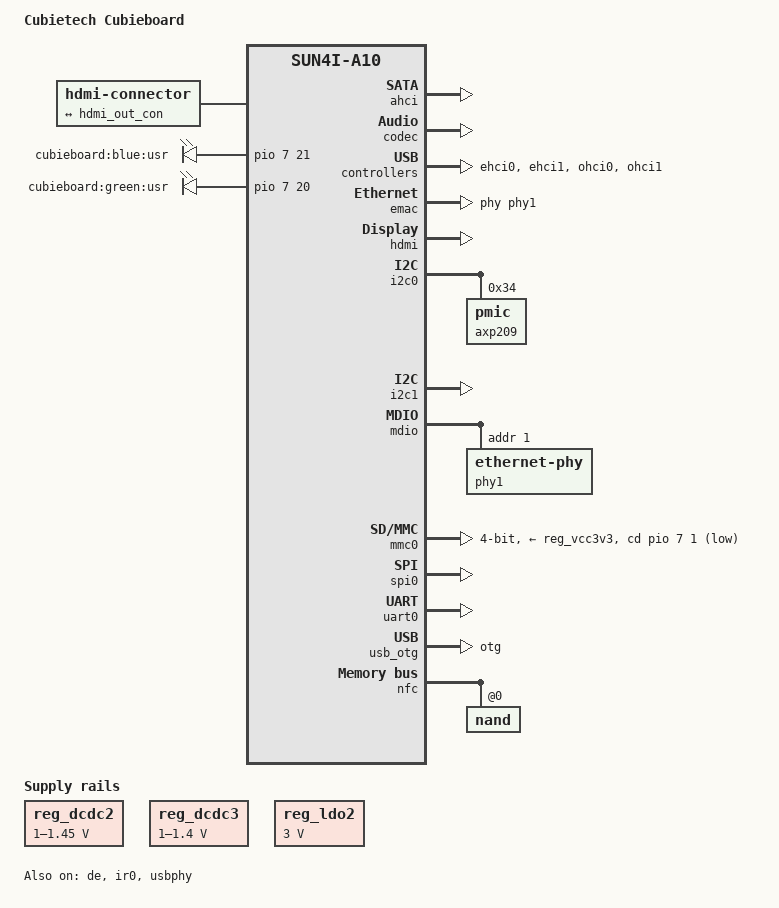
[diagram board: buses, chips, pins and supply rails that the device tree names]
/*
 * Copyright 2012 Stefan Roese
 * Stefan Roese <sr@denx.de>
 *
 * This file is dual-licensed: you can use it either under the terms
 * of the GPL or the X11 license, at your option. Note that this dual
 * licensing only applies to this file, and not this project as a
 * whole.
 *
 *  a) This file is free software; you can redistribute it and/or
 *     modify it under the terms of the GNU General Public License as
 *     published by the Free Software Foundation; either version 2 of the
 *     License, or (at your option) any later version.
 *
 *     This file is distributed in the hope that it will be useful,
 *     but WITHOUT ANY WARRANTY; without even the implied warranty of
 *     MERCHANTABILITY or FITNESS FOR A PARTICULAR PURPOSE.  See the
 *     GNU General Public License for more details.
 *
 * Or, alternatively,
 *
 *  b) Permission is hereby granted, free of charge, to any person
 *     obtaining a copy of this software and associated documentation
 *     files (the "Software"), to deal in the Software without
 *     restriction, including without limitation the rights to use,
 *     copy, modify, merge, publish, distribute, sublicense, and/or
 *     sell copies of the Software, and to permit persons to whom the
 *     Software is furnished to do so, subject to the following
 *     conditions:
 *
 *     The above copyright notice and this permission notice shall be
 *     included in all copies or substantial portions of the Software.
 *
 *     THE SOFTWARE IS PROVIDED "AS IS", WITHOUT WARRANTY OF ANY KIND,
 *     EXPRESS OR IMPLIED, INCLUDING BUT NOT LIMITED TO THE WARRANTIES
 *     OF MERCHANTABILITY, FITNESS FOR A PARTICULAR PURPOSE AND
 *     NONINFRINGEMENT. IN NO EVENT SHALL THE AUTHORS OR COPYRIGHT
 *     HOLDERS BE LIABLE FOR ANY CLAIM, DAMAGES OR OTHER LIABILITY,
 *     WHETHER IN AN ACTION OF CONTRACT, TORT OR OTHERWISE, ARISING
 *     FROM, OUT OF OR IN CONNECTION WITH THE SOFTWARE OR THE USE OR
 *     OTHER DEALINGS IN THE SOFTWARE.
 */

/dts-v1/;
#include "sun4i-a10.dtsi"
#include "sunxi-common-regulators.dtsi"

#include <dt-bindings/gpio/gpio.h>

/ {
	model = "Cubietech Cubieboard";
	compatible = "cubietech,a10-cubieboard", "allwinner,sun4i-a10";

	aliases {
		serial0 = &uart0;
	};

	chosen {
		stdout-path = "serial0:115200n8";
	};

	hdmi-connector {
		compatible = "hdmi-connector";
		type = "a";

		port {
			hdmi_con_in: endpoint {
				remote-endpoint = <&hdmi_out_con>;
			};
		};
	};

	leds {
		compatible = "gpio-leds";
		pinctrl-names = "default";
		pinctrl-0 = <&led_pins_cubieboard>;

		blue {
			label = "cubieboard:blue:usr";
			gpios = <&pio 7 21 GPIO_ACTIVE_HIGH>; /* LED1 */
		};

		green {
			label = "cubieboard:green:usr";
			gpios = <&pio 7 20 GPIO_ACTIVE_HIGH>; /* LED2 */
			linux,default-trigger = "heartbeat";
		};
	};
};

&ahci {
	target-supply = <&reg_ahci_5v>;
	status = "okay";
};

&codec {
	status = "okay";
};

&cpu0 {
	cpu-supply = <&reg_dcdc2>;
};

&de {
	status = "okay";
};

&ehci0 {
	status = "okay";
};

&ehci1 {
	status = "okay";
};

&emac {
	phy = <&phy1>;
	status = "okay";
};

&emac_sram {
	status = "okay";
};

&hdmi {
	status = "okay";
};

&hdmi_out {
	hdmi_out_con: endpoint {
		remote-endpoint = <&hdmi_con_in>;
	};
};

&i2c0 {
	status = "okay";

	axp209: pmic@34 {
		reg = <0x34>;
		interrupts = <0>;
	};
};

&i2c1 {
	status = "okay";
};

&ir0 {
	pinctrl-names = "default";
	pinctrl-0 = <&ir0_rx_pins>;
	status = "okay";
};

&mdio {
	status = "okay";

	phy1: ethernet-phy@1 {
		reg = <1>;
	};
};

&mmc0 {
	vmmc-supply = <&reg_vcc3v3>;
	bus-width = <4>;
	cd-gpios = <&pio 7 1 GPIO_ACTIVE_LOW>; /* PH1 */
	status = "okay";
};

&ohci0 {
	status = "okay";
};

&ohci1 {
	status = "okay";
};

&otg_sram {
	status = "okay";
};

&pio {
	led_pins_cubieboard: led-pins {
		pins = "PH20", "PH21";
		function = "gpio_out";
		drive-strength = <20>;
	};

	usb0_id_detect_pin: usb0-id-detect-pin {
		pins = "PH4";
		function = "gpio_in";
		bias-pull-up;
	};
};

&reg_ahci_5v {
	status = "okay";
};

#include "axp209.dtsi"

&ac_power_supply {
	status = "okay";
};

&reg_dcdc2 {
	regulator-always-on;
	regulator-min-microvolt = <1000000>;
	regulator-max-microvolt = <1450000>;
	regulator-name = "vdd-cpu";
};

&reg_dcdc3 {
	regulator-always-on;
	regulator-min-microvolt = <1000000>;
	regulator-max-microvolt = <1400000>;
	regulator-name = "vdd-int-dll";
};

&reg_ldo1 {
	regulator-name = "vdd-rtc";
};

&reg_ldo2 {
	regulator-always-on;
	regulator-min-microvolt = <3000000>;
	regulator-max-microvolt = <3000000>;
	regulator-name = "avcc";
};

&reg_usb1_vbus {
	status = "okay";
};

&reg_usb2_vbus {
	status = "okay";
};

&spi0 {
	pinctrl-names = "default";
	pinctrl-0 = <&spi0_pi_pins>,
		    <&spi0_cs0_pi_pin>;
	status = "okay";
};

&uart0 {
	pinctrl-names = "default";
	pinctrl-0 = <&uart0_pb_pins>;
	status = "okay";
};

&usb_otg {
	dr_mode = "otg";
	status = "okay";
};

&usbphy {
	pinctrl-names = "default";
	pinctrl-0 = <&usb0_id_detect_pin>;
	usb0_id_det-gpio = <&pio 7 4 GPIO_ACTIVE_HIGH>; /* PH4 */
	usb1_vbus-supply = <&reg_usb1_vbus>;
	usb2_vbus-supply = <&reg_usb2_vbus>;
	status = "okay";
};


&nfc {
	pinctrl-names = "default";
	pinctrl-0 = <&nand_pins>, <&nand_pins_cs0>, <&nand_pins_rb0>;
	status = "okay";

	nand@0 {
		#address-cells = <2>;
		#size-cells = <2>;
		reg = <0>;
		allwinner,rb = <0>;
		nand-ecc-mode = "hw";
		nand-ecc-strength = <40>;
		nand-ecc-step-size = <1024>;
		nand-rnd-mode = "hw";
        nand-randomizer-seeds = /bits/ 16 <
			0x2b75 0x0bd0 0x5ca3 0x62d1 0x1c93 0x07e9 0x2162 0x3a72
			0x0d67 0x67f9 0x1be7 0x077d 0x032f 0x0dac 0x2716 0x2436
			0x7922 0x1510 0x3860 0x5287 0x480f 0x4252 0x1789 0x5a2d
			0x2a49 0x5e10 0x437f 0x4b4e 0x2f45 0x216e 0x5cb7 0x7130
			0x2a3f 0x60e4 0x4dc9 0x0ef0 0x0f52 0x1bb9 0x6211 0x7a56
			0x226d 0x4ea7 0x6f36 0x3692 0x38bf 0x0c62 0x05eb 0x4c55
			0x60f4 0x728c 0x3b6f 0x2037 0x7f69 0x0936 0x651a 0x4ceb
			0x6218 0x79f3 0x383f 0x18d9 0x4f05 0x5c82 0x2912 0x6f17
			0x6856 0x5938 0x1007 0x61ab 0x3e7f 0x57c2 0x542f 0x4f62
			0x7454 0x2eac 0x7739 0x42d4 0x2f90 0x435a 0x2e52 0x2064
			0x637c 0x66ad 0x2c90 0x0bad 0x759c 0x0029 0x0986 0x7126
			0x1ca7 0x1605 0x386a 0x27f5 0x1380 0x6d75 0x24c3 0x0f8e
			0x2b7a 0x1418 0x1fd1 0x7dc1 0x2d8e 0x43af 0x2267 0x7da3
			0x4e3d 0x1338 0x50db 0x454d 0x764d 0x40a3 0x42e6 0x262b
			0x2d2e 0x1aea 0x2e17 0x173d 0x3a6e 0x71bf 0x25f9 0x0a5d
			0x7c57 0x0fbe 0x46ce 0x4939 0x6b17 0x37bb 0x3e91 0x76db>;
		onfi,nand-timing-mode = <0x1f>;
		nand-on-flash-bbt;
		spl@0 {
                        label = "spl";
                        reg = /bits/ 64 <0x0 0x200000>;
                        nand-ecc-mode = "hw_syndrome";
                        nand-rnd-mode = "hw";
                };

                spl_bak@200000 {
                        label = "spl_bak";
                        reg = /bits/ 64 <0x200000 0x200000>;
                        nand-ecc-mode = "hw_syndrome";
                        nand-rnd-mode = "hw";
                };

                uboot_env@400000 {
                        label = "uboot_env";
                        reg = /bits/ 64 <0x400000 0x200000>;
                        nand-ecc-mode = "hw";
                        nand-rnd-mode = "hw";
                };

		uboot_bak@600000 {
                        label = "uboot_bak";
                        reg = /bits/ 64 <0x600000 0x200000>;
                        nand-ecc-mode = "hw";
                        nand-rnd-mode = "hw";
                };

                uboot@800000 {
                        label = "uboot";
                        reg = /bits/ 64 <0x800000 0x200000>;
                        nand-ecc-mode = "hw";
                        nand-rnd-mode = "hw";
                };

                dtb@a00000 {
                        label = "dtb";
                        reg = /bits/ 64 <0xa00000 0x200000>;
                        nand-ecc-mode = "hw";
                        nand-rnd-mode = "hw";
                };

                kernel@c00000 {
                        label = "kernel";
                        reg = /bits/ 64 <0xc00000 0x600000>;
                        nand-ecc-mode = "hw";
                        nand-rnd-mode = "hw";
                };

		rootfs@1200000 {
                        label = "rootfs";
                        reg = /bits/ 64 <0x1200000 0xff800000>;
                        nand-ecc-mode = "hw";
                        nand-rnd-mode = "hw";
                };

	};
};
